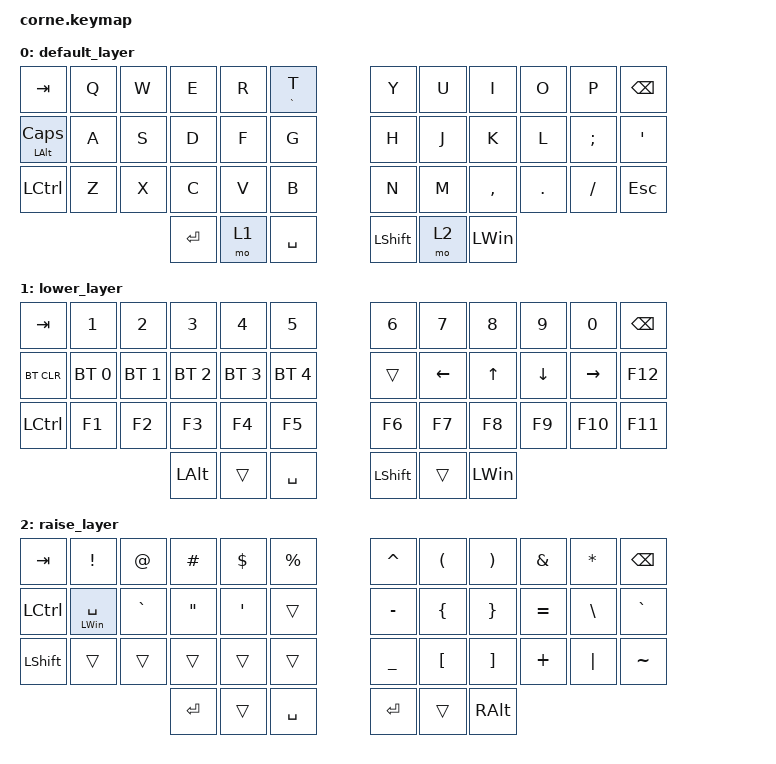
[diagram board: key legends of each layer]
/*
 * Copyright (c) 2020 The ZMK Contributors
 *
 * SPDX-License-Identifier: MIT
 */

#include <behaviors.dtsi>
#include <dt-bindings/zmk/bt.h>
#include <dt-bindings/zmk/keys.h>

/ {
    combos {
        compatible = "zmk,combos";

        combo_esc {
            timeout-ms = <50>;
            key-positions = <0 1>;
            bindings = <&kp ESC>;
        };
    };

    behaviors {
        ss_hs_modmorph: ss_hs_modmorph {
            compatible = "zmk,behavior-mod-morph";
            label = "SS_HS_MODMORPH";
            bindings = <&kp M>, <&kp RIGHT_BRACKET>;

            #binding-cells = <0>;
            mods = <(MOD_LSFT|MOD_RSFT)>;
        };

        kh_hs_tapdance: kh_hs_tapdance {
            compatible = "zmk,behavior-tap-dance";
            label = "KH_HS_TAPDANCE";
            #binding-cells = <0>;
            tapping-term-ms = <200>;
            bindings = <&kp LEFT_BRACKET>, <&kp RIGHT_BRACKET>;
        };

        hrm: hrm {
            compatible = "zmk,behavior-hold-tap";
            #binding-cells = <2>;
            flavor = "tap-preferred";
            tapping-term-ms = <200>;
            quick-tap-ms = <200>;
            require-prior-idle-ms = <125>;
            bindings = <&kp>, <&kp>;
        };
    };

    keymap {
        compatible = "zmk,keymap";

        default_layer {
            // -----------------------------------------------------------------------------------------
            // |  TAB |  Q  |  W  |  E  |  R  |  T  |   |  Y  |  U   |  I  |  O  |  P  | BKSP |
            // | CTRL |  A  |  S  |  D  |  F  |  G  |   |  H  |  J   |  K  |  L  |  ;  |  '   |
            // | SHFT |  Z  |  X  |  C  |  V  |  B  |   |  N  |  M   |  ,  |  .  |  /  | ESC  |
            //                    | GUI | LWR | SPC |   | ENT | RSE  | ALT |

            bindings = <
&kp TAB                 &kp Q  &kp W  &kp E      &kp R  &hrm GRAVE T    &kp Y           &kp U  &kp I         &kp O    &kp P     &kp BSPC
&hrm LEFT_ALT CAPSLOCK  &kp A  &kp S  &kp D      &kp F  &kp G           &kp H           &kp J  &kp K         &kp L    &kp SEMI  &kp SQT
&kp LEFT_CONTROL        &kp Z  &kp X  &kp C      &kp V  &kp B           &kp N           &kp M  &kp COMMA     &kp DOT  &kp FSLH  &kp ESC
                                      &kp ENTER  &mo 1  &kp SPACE       &kp LEFT_SHIFT  &mo 2  &kp LEFT_WIN
            >;
        };

        lower_layer {
            // -----------------------------------------------------------------------------------------
            // |  TAB |  1  |  2  |  3  |  4  |  5  |   |  6  |  7  |  8  |  9  |  0  | BKSP |
            // | BTCLR| BT1 | BT2 | BT3 | BT4 | BT5 |   | LFT | DWN |  UP | RGT |     |      |
            // | SHFT |     |     |     |     |     |   |     |     |     |     |     |      |
            //                    | GUI |     | SPC |   | ENT |     | ALT |

            bindings = <
&kp TAB           &kp N1        &kp N2        &kp N3        &kp N4        &kp N5          &kp N6          &kp N7          &kp N8        &kp N9          &kp N0     &kp BSPC
&bt BT_CLR        &bt BT_SEL 0  &bt BT_SEL 1  &bt BT_SEL 2  &bt BT_SEL 3  &bt BT_SEL 4    &trans          &kp LEFT_ARROW  &kp UP_ARROW  &kp DOWN_ARROW  &kp RIGHT  &kp F12
&kp LEFT_CONTROL  &kp F1        &kp F2        &kp F3        &kp F4        &kp F5          &kp F6          &kp F7          &kp F8        &kp F9          &kp F10    &kp F11
                                              &kp LEFT_ALT  &trans        &kp SPACE       &kp LEFT_SHIFT  &trans          &kp LEFT_WIN
            >;
        };

        raise_layer {
            // -----------------------------------------------------------------------------------------
            // |  TAB |  !  |  @  |  #  |  $  |  %  |   |  ^  |  &  |  *  |  (  |  )  | BKSP |
            // | CTRL |     |     |     |     |     |   |  -  |  =  |  [  |  ]  |  \  |  `   |
            // | SHFT |     |     |     |     |     |   |  _  |  +  |  {  |  }  | "|" |  ~   |
            //                    | GUI |     | SPC |   | ENT |     | ALT |

            bindings = <
&kp TAB    &kp EXCL             &kp AT     &kp HASH           &kp DLLR          &kp PRCNT    &kp CARET  &kp LEFT_PARENTHESIS  &kp RIGHT_PARENTHESIS  &kp AMPERSAND  &kp STAR  &kp BSPC
&kp LCTRL  &hrm LEFT_WIN SPACE  &kp GRAVE  &kp DOUBLE_QUOTES  &kp SINGLE_QUOTE  &trans       &kp MINUS  &kp LEFT_BRACE        &kp RIGHT_BRACE        &kp EQUAL      &kp BSLH  &kp GRAVE
&kp LSHFT  &trans               &trans     &trans             &trans            &trans       &kp UNDER  &kp LEFT_BRACKET      &kp RIGHT_BRACKET      &kp PLUS       &kp PIPE  &kp TILDE
                                           &kp ENTER          &trans            &kp SPACE    &kp RET    &trans                &kp RALT
            >;
        };
    };
};
